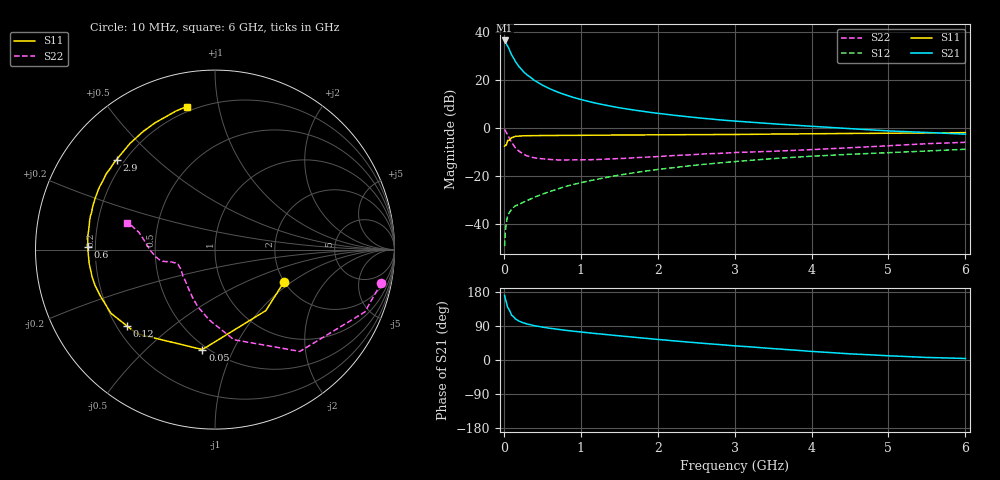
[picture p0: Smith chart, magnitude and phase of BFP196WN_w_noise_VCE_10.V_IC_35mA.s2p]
! Infineon Technologies  Discrete & RF Semiconductors
! BFP196WN
! VCE =  10. V,  IC =  35 mA
! Common Emitter S-Parameters:  Jan 2017
# GHz  S  MA  R  50
!  f  S11  S21  S12  S22
! GHz  MAG  ANG  MAG  ANG  MAG  ANG  MAG  ANG
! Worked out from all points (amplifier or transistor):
!   77 points, 10 MHz to 6 GHz, reference 50 ohm
!   highest |S21| = 36.6 dB at 10 MHz (marker M1)
!   |S21| within 3 dB of that: start of sweep to 59.83 MHz
!   unconditionally stable (mu >= 1): 806.9 MHz to 2.714 GHz
!   at 130 MHz: K = 0.43, MSG = 31.0 dB, |S12| = -32.8 dB
!   at 2.2 GHz: K = 1.03, MAG = 10.0 dB, |S12| = -16.4 dB
!   at 6 GHz: K = 0.89, MSG = 3.2 dB, |S12| = -8.7 dB
!   lowest NFmin = 1.11 dB at 450 MHz
!   S11 on the Smith chart (normalised r, x): 10 MHz: 1.99, -0.88; 50 MHz: 0.47, -0.77; 120 MHz: 0.24, -0.35; 600 MHz: 0.17, +0.01; 2.9 GHz: 0.17, +0.38; 6 GHz: 0.17, +0.81
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0.01  0.4243 -25.3  67.69 170.5  0.0035 75.8  0.9455 -11.3
0.02  0.4424 -50.2  63.16 160.5  0.0073 71.8  0.9041 -22.6
0.05  0.5613 -97.2  51.74 138.4  0.0153 57.2  0.7386 -50.2
0.1  0.6395 -132.8  34.12 118.5  0.0205 46.8  0.5133 -78.1
0.12  0.6497 -139.3  30.26 115.2  0.022 45.6  0.4604 -83.8
0.15  0.68 -148.6  24.73 108.5  0.0243 44.1  0.3921 -94.9
0.2  0.6883 -157.5  19.07 102.4  0.026 47.4  0.331 -107.0
0.25  0.6975 -163.4  15.49 98.2  0.0287 47.0  0.2934 -115.4
0.3  0.7013 -167.6  13.02 95.1  0.031 50.1  0.2669 -122.8
0.4  0.7051 -173.6  9.891 90.3  0.0367 55.1  0.2418 -132.6
0.5  0.7066 -177.9  7.936 86.8  0.0423 57.7  0.2316 -140.2
0.6  0.7087 178.9  6.636 83.7  0.0484 59.8  0.2246 -145.4
0.7  0.7104 176.0  5.684 81.1  0.0542 62.9  0.2192 -149.0
0.8  0.7127 173.3  4.981 78.4  0.0613 63.7  0.2192 -151.4
1.1  0.7172 166.9  3.632 71.8  0.0799 65.2  0.2213 -157.5
1.5  0.7232 159.7  2.683 63.8  0.1059 65.2  0.2339 -161.9
2.1  0.7325 149.7  1.966 52.6  0.145 62.8  0.2637 -165.2
2.9  0.743 137.6  1.459 39.1  0.196 57.8  0.3064 -168.4
3.1  0.7461 134.6  1.38 36.1  0.2085 56.2  0.3166 -170.1
4.1  0.772 120.0  1.078 21.4  0.2668 48.6  0.3661 179.2
5.1  0.7918 109.2  0.869 10.3  0.3159 41.3  0.4417 166.7
6  0.8123 101.2  0.756 4.0  0.3657 35.3  0.511 162.9
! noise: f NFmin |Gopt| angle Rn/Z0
0.45  1.11  0.47  179  0.05
0.9  1.24  0.53  186  0.05
1.9  2.17  0.68  212  0.13
2.4  2.91  0.69  219  0.25
